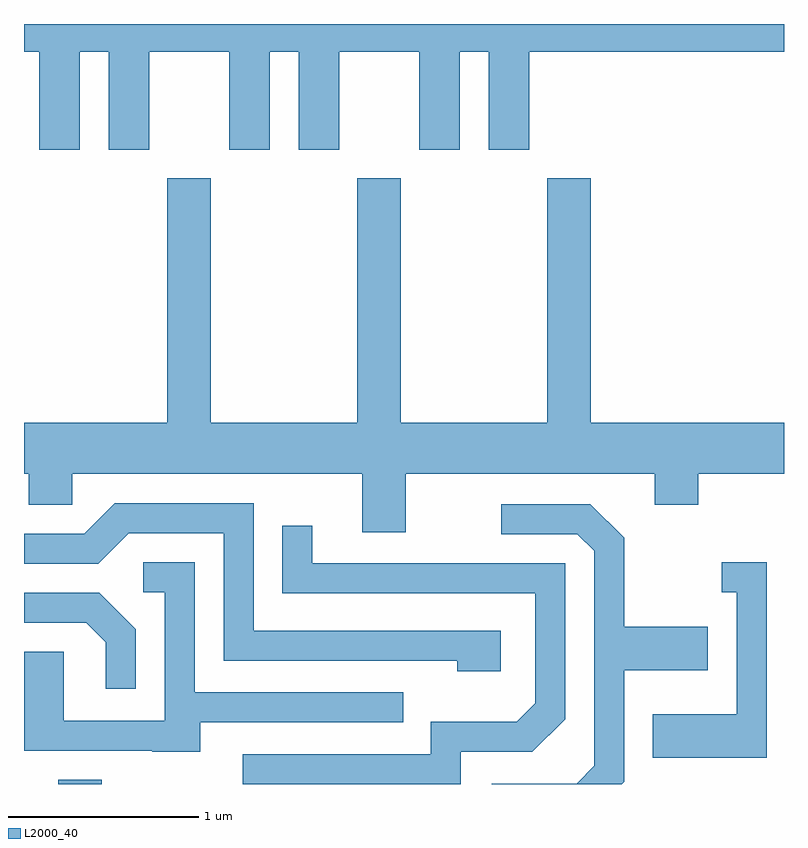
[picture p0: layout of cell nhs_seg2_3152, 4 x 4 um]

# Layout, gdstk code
import gdstk
lib = gdstk.Library(unit=1e-6, precision=1e-09)
def R(c, l, rs):  # rectangles x0, y0, x1, y1
    for r in rs: c.add(gdstk.rectangle(r[:2], r[2:], *l))
def P(c, l, *ps):  # polygons
    for p in ps: c.add(gdstk.Polygon(p, *l))
L2000_40 = (2000, 40)

nhs_seg2_3152 = lib.new_cell('nhs_seg2_3152')
R(nhs_seg2_3152, L2000_40, [(277.791,1037.802,278.019,1037.824)])
P(nhs_seg2_3152, L2000_40, [(277.904,1041.656),(278.056,1041.656),(278.056,1041.141),(278.269,1041.141),(278.269,1041.656),(278.691,1041.656),(278.691,1041.141),(278.904,1041.141),(278.904,1041.656),(279.056,1041.656),(279.056,1041.141),(279.269,1041.141),(279.269,1041.656),(279.691,1041.656),(279.691,1041.141),(279.904,1041.141),(279.904,1041.656),(280.056,1041.656),(280.056,1041.141),(280.269,1041.141),(280.269,1041.656),(281.611,1041.656),(281.611,1041.802),(277.611,1041.802),(277.611,1041.656),(277.691,1041.656),(277.691,1041.141),(277.904,1041.141)],
  [(279.619,1039.436),(280.931,1039.436),(280.931,1039.271),(281.159,1039.271),(281.159,1039.436),(281.611,1039.436),(281.611,1039.704),(280.594,1039.704),(280.594,1040.989),(280.366,1040.989),(280.366,1039.704),(279.594,1039.704),(279.594,1040.989),(279.366,1040.989),(279.366,1039.704),(278.594,1039.704),(278.594,1040.989),(278.366,1040.989),(278.366,1039.704),(277.611,1039.704),(277.611,1039.436),(277.636,1039.436),(277.636,1039.271),(277.864,1039.271),(277.864,1039.436),(279.391,1039.436),(279.391,1039.126),(279.619,1039.126)],
  [(280.119,1038.609),(278.819,1038.609),(278.819,1039.279),(278.089,1039.279),(277.929,1039.119),(277.611,1039.119),(277.611,1038.961),(278.002,1038.961),(278.162,1039.121),(278.661,1039.121),(278.661,1038.451),(279.891,1038.451),(279.891,1038.396),(280.119,1038.396)],
  [(280.769,1037.814),(280.769,1038.401),(281.209,1038.401),(281.209,1038.629),(280.769,1038.629),(280.769,1039.097),(280.592,1039.274),(280.123,1039.274),(280.123,1039.116),(280.524,1039.116),(280.611,1039.029),(280.611,1037.897),(280.519,1037.804),(280.073,1037.804),(280.073,1037.802),(280.757,1037.802)],
  [(279.909,1037.971),(280.287,1037.971),(280.459,1038.144),(280.459,1038.964),(279.129,1038.964),(279.129,1039.162),(278.971,1039.162),(278.971,1038.806),(280.301,1038.806),(280.301,1038.227),(280.204,1038.129),(279.751,1038.129),(279.751,1037.959),(278.761,1037.959),(278.761,1037.802),(279.909,1037.802)],
  [(281.519,1038.969),(281.283,1038.969),(281.283,1038.811),(281.361,1038.811),(281.361,1038.169),(280.921,1038.169),(280.921,1037.941),(281.519,1037.941)],
  [(278.539,1038.126),(279.608,1038.126),(279.608,1038.284),(278.509,1038.284),(278.509,1038.969),(278.238,1038.969),(278.238,1038.811),(278.351,1038.811),(278.351,1038.134),(277.819,1038.134),(277.819,1038.499),(277.611,1038.499),(277.611,1037.976),(278.285,1037.976),(278.285,1037.971),(278.539,1037.971)],
  [(278.199,1038.617),(278.007,1038.809),(277.611,1038.809),(277.611,1038.651),(277.939,1038.651),(278.041,1038.549),(278.041,1038.303),(278.199,1038.303)])

lib.write_gds('nhs_seg2_3152.gds')
